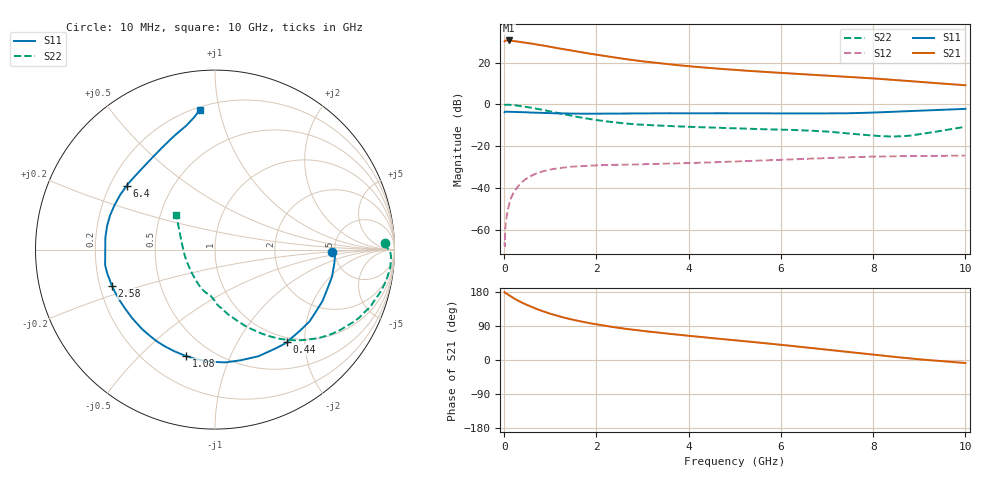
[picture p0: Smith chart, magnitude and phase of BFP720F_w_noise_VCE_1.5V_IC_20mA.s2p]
! Infineon Technologies  Discrete & RF Semiconductors
! BFP720F
! VCE =  1.5 V,  IC =  20 mA
! Common Emitter S-Parameters:  Jan 2016
# GHz  S  MA  R  50
!  f  S11  S21  S12  S22
! GHz  MAG  ANG  MAG  ANG  MAG  ANG  MAG  ANG
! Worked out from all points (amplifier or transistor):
!   233 points, 10 MHz to 10 GHz, reference 50 ohm
!   highest |S21| = 30.7 dB at 100 MHz (marker M1)
!   |S21| within 3 dB of that: start of sweep to 985.6 MHz
!   unconditionally stable (mu >= 1): start of sweep to 16.97 MHz; 5.157 GHz to end of sweep
!   at 200 MHz: K = 0.10, MSG = 36.4 dB, |S12| = -42.5 dB
!   at 1.74 GHz: K = 0.46, MSG = 27.1 dB, |S12| = -29.5 dB
!   at 10 GHz: K = 1.26, MAG = 13.8 dB, |S12| = -24.5 dB
!   lowest NFmin = 0.86 dB at 450 MHz
!   S11 on the Smith chart (normalised r, x): 10 MHz: 4.72, -0.26; 440 MHz: 0.92, -1.65; 1.08 GHz: 0.37, -0.70; 2.58 GHz: 0.25, -0.16; 6.4 GHz: 0.27, +0.30; 10 GHz: 0.22, +0.87
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0.01  0.6513 -1.4  32.8 179.1  0.0005 -20.9  0.9453 2.1
0.02  0.6698 -2.4  33.89 177.4  0.0009 93.2  0.9784 -1.1
0.05  0.6693 -6.6  34.1 175.8  0.0019 84.6  0.9818 -2.5
0.1  0.6694 -13.0  34.19 171.4  0.0037 82.6  0.9818 -5.8
0.185  0.6631 -23.7  33.14 164.5  0.007 79.5  0.9652 -11.0
0.26  0.6598 -32.5  32.49 159.3  0.0095 75.7  0.9465 -15.3
0.44  0.6526 -52.1  30.58 148.3  0.0153 67.3  0.891 -24.8
0.6  0.6416 -67.8  28.8 139.9  0.0198 60.3  0.8299 -32.6
0.7  0.6331 -77.0  27.36 134.8  0.0222 56.5  0.7938 -36.9
0.8  0.631 -84.8  26.42 130.4  0.0241 53.1  0.7559 -40.8
1.08  0.614 -105.1  23.16 119.2  0.0285 44.7  0.6517 -50.6
1.38  0.6049 -122.1  20.3 109.4  0.0314 38.1  0.5578 -58.9
1.68  0.5992 -135.7  17.79 101.2  0.0333 33.2  0.4817 -65.8
2.02  0.5993 -147.4  15.43 93.5  0.0347 29.4  0.4194 -72.2
2.58  0.609 -160.6  12.44 83.2  0.0359 25.7  0.3535 -80.3
3.4  0.6172 -170.9  9.632 71.5  0.0378 24.0  0.3099 -87.1
4  0.6145 173.7  8.245 63.8  0.0393 23.5  0.2908 -89.6
5.1  0.614 160.8  6.609 50.9  0.0433 23.0  0.2653 -93.9
6.4  0.6072 144.2  5.377 35.0  0.0492 20.8  0.2415 -103.6
6.8  0.6052 138.1  5.057 29.9  0.0511 19.6  0.2297 -108.7
8.4  0.6656 111.2  3.916 9.0  0.0572 12.9  0.1709 -158.6
10  0.7818 96.3  2.887 -8.0  0.0593 7.5  0.292 138.1
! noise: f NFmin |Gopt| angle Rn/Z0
0.45  0.86  0.16  0  0.43
0.9  0.89  0.09  -6  0.15
1.8  0.92  0.07  -52  0.15
2.4  0.94  0.08  -58  0.15
5.5  1.06  0.08  -60  0.14
10  1.24  0.38  -81  0.26
